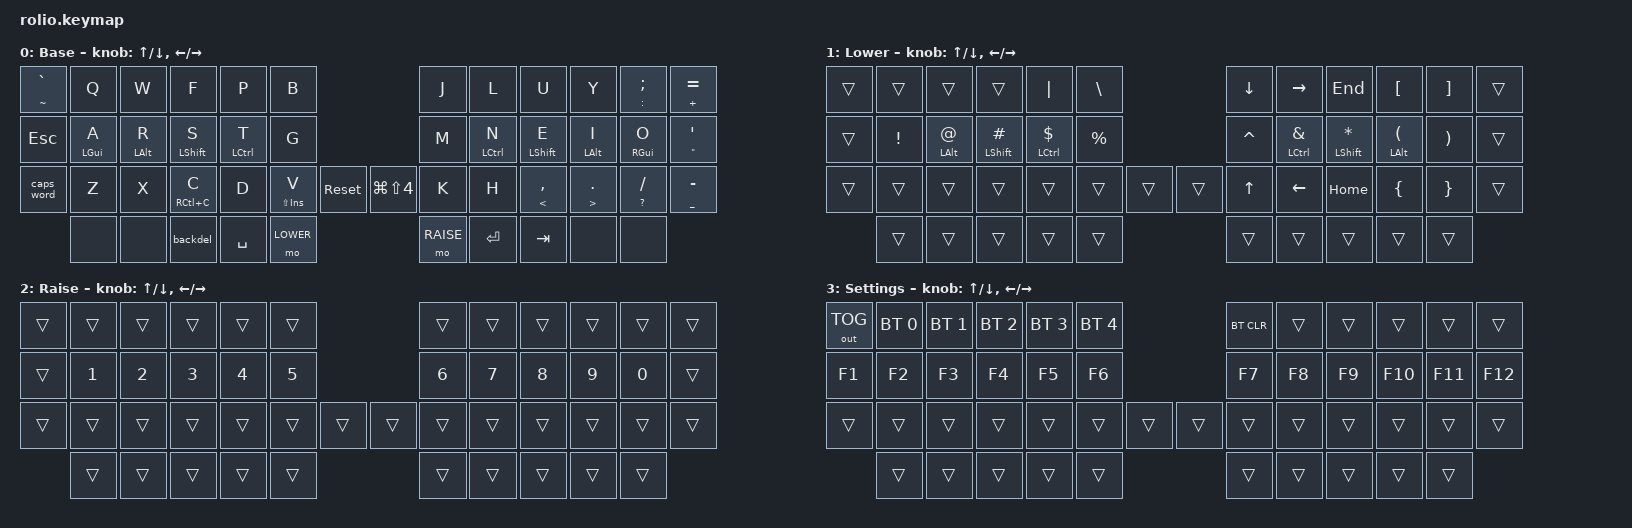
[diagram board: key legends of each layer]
/*
 * Copyright (c) 2020 The ZMK Contributors
 *
 * SPDX-License-Identifier: MIT
 */

#include <behaviors.dtsi>
#include <dt-bindings/zmk/keys.h>
#include <dt-bindings/zmk/bt.h>
#include <dt-bindings/zmk/outputs.h>
#include <dt-bindings/zmk/backlight.h>


#define DEFAULT   0
#define LOWER     1
#define RAISE     2
#define KB_CONFIG 3

#define KEYS_L 0 1 2 3 4 5 12 13 14 15 16 17 24 25 26 27 28 29 30   // left hand
#define KEYS_R 6 7 8 9 10 11 18 19 20 21 22 23 31 32 33 34 35 36 37 // right hand
#define KEYS_T 38 39 40 41 42 43 44 45 46 47                        // thumbs

/ {

    conditional_layers {
        compatible = "zmk,conditional-layers";
        tri_layer {
            if-layers = <LOWER RAISE>;
            then-layer = <KB_CONFIG>;
        };
    };


    behaviors {
        hml: homerow_mods_left {
          compatible = "zmk,behavior-hold-tap";
          label = "HOMEROW_MODS_LEFT";
          #binding-cells = <2>;
          bindings = <&kp>, <&kp>;
          flavor = "balanced";
          tapping-term-ms = <230>;
          quick-tap-ms = <175>;        // repeat on tap-into-hold
          //hold-trigger-key-positions = <KEYS_R KEYS_T>;
        };

        hmr: homerow_mods_right {
          compatible = "zmk,behavior-hold-tap";
          label = "HOMEROW_MODS_RIGHT";
          #binding-cells = <2>;
          bindings = <&kp>, <&kp>;
          flavor = "balanced";
          tapping-term-ms = <230>;
          quick_tap_ms = <175>;
          //hold-trigger-key-positions = <KEYS_L KEYS_T>;
        };

        // Backspace with Del
        backdel: backspace_del {
            compatible = "zmk,behavior-mod-morph";
            #binding-cells = <0>;
            bindings = <&kp BSPC>, <&kp DEL>;
            mods = <(MOD_LSFT|MOD_RSFT|MOD_LCTL|MOD_RCTL|MOD_LALT|MOD_RALT)>;
        };
        // Mod-Tap but with the tap preferred, usefull for clipboard operations for example
        tmt: tap_prefered_mt {
            compatible = "zmk,behavior-hold-tap";
            #binding-cells = <2>;
            flavor = "tap-preferred";
            tapping-term-ms = <200>;
            quick-tap-ms = <200>;
            bindings = <&kp>, <&kp>;
        };
        // // Toggle Numbers layer
        // td1: tap_dance_1 {
        //     compatible = "zmk,behavior-tap-dance";
        //     label = "TAP_DANCE_1";
        //     #binding-cells = <0>;
        //     tapping-term-ms = <300>;
        //     bindings = <&mo RAISE>, <&tog MATHS>, <&tog RAISE>;
        // };
        // // Toggle capsword left
        // td2: tap_dance_2 {
        //     compatible = "zmk,behavior-tap-dance";
        //     label = "TAP_DANCE_2";
        //     #binding-cells = <0>;
        //     tapping-term-ms = <200>;
        //     bindings = <&kp LSHFT>, <&caps_word>;
        // };
        // // Toggle capsword right
        // td3: tap_dance_3 {
        //     compatible = "zmk,behavior-tap-dance";
        //     label = "TAP_DANCE_3";
        //     #binding-cells = <0>;
        //     tapping-term-ms = <200>;
        //     bindings = <&kp RSHFT>, <&caps_word>;
        // };
        // // Toggle Windows layer
        // td4: tap_dance_4 {
        //     compatible = "zmk,behavior-tap-dance";
        //     label = "TAP_DANCE_4";
        //     #binding-cells = <0>;
        //     tapping-term-ms = <200>;
        //     bindings = <&kp LGUI>, <&tog WINDOWS>;
        // };
        // // Toggle Windows layer
        // td5: tap_dance_5 {
        //     compatible = "zmk,behavior-tap-dance";
        //     label = "TAP_DANCE_5";
        //     #binding-cells = <0>;
        //     tapping-term-ms = <200>;
        //     bindings = <&kp RGUI>, <&tog WINDOWS>;
        // };
        // // Backspace a whole word when holding backspace
        // backspace_word: backspace_word {
        //     compatible = "zmk,behavior-hold-tap";
        //     label = "BACKSPACE_WORD";
        //     #binding-cells = <2>;
        //     tapping_term_ms = <135>;
        //     quick_tap_ms = <0>;
        //     flavor = "tap-preferred";
        //     bindings = <&bsp_word>, <&kp>;
        // };
        // w_backspace_word: w_backspace_word {
        //     compatible = "zmk,behavior-hold-tap";
        //     label = "WINDOWS_BACKSPACE_WORD";
        //     #binding-cells = <2>;
        //     tapping_term_ms = <135>;
        //     quick_tap_ms = <0>;
        //     flavor = "tap-preferred";
        //     bindings = <&w_bsp_word>, <&kp>;
        // };
    };


    macros {
        // unindent: unindent {
        //     label = "UNINDENT";
        //     compatible = "zmk,behavior-macro";
        //     #binding-cells = <0>;
        //     bindings
        //         = <&macro_press &kp LSHIFT>
        //         , <&macro_tap &kp TAB>
        //         , <&macro_release &kp LSHIFT>
        //         ;
        // };
        // lstart: lstart {
        //     label = "Line_Start";
        //     compatible = "zmk,behavior-macro";
        //     #binding-cells = <0>;
        //     bindings
        //         = <&macro_press &kp LGUI>
        //         , <&macro_tap &kp LEFT>
        //         , <&macro_release &kp LGUI>
        //         ;
        // };
        // lend: lend {
        //     label = "Line_End";
        //     compatible = "zmk,behavior-macro";
        //     #binding-cells = <0>;
        //     bindings
        //         = <&macro_press &kp LGUI>
        //         , <&macro_tap &kp RIGHT>
        //         , <&macro_release &kp LGUI>
        //         ;
        // };
        // scrsh: scrsh {
        //     label = "Screenshot";
        //     compatible = "zmk,behavior-macro";
        //     #binding-cells = <0>;
        //     bindings
        //         = <&macro_press &kp LGUI>
        //         , <&macro_press &kp LSHIFT>
        //         , <&macro_tap &kp N3>
        //         , <&macro_release &kp LSHFT>
        //         , <&macro_release &kp LGUI>
        //         ;
        // };
        // scrcr: scrcr {
        //     label = "Screen_Crop";
        //     compatible = "zmk,behavior-macro";
        //     #binding-cells = <0>;
        //     bindings
        //         = <&macro_press &kp LGUI>
        //         , <&macro_press &kp LSHIFT>
        //         , <&macro_tap &kp N4>
        //         , <&macro_release &kp LSHFT>
        //         , <&macro_release &kp LGUI>
        //         ;
        // };
        // wscrcr: wscrcr {
        //     label = "Windows_Screen_Crop";
        //     compatible = "zmk,behavior-macro";
        //     #binding-cells = <0>;
        //     bindings
        //         = <&macro_press &kp LGUI>
        //         , <&macro_press &kp LSHIFT>
        //         , <&macro_tap &kp S>
        //         , <&macro_release &kp LSHFT>
        //         , <&macro_release &kp LGUI>
        //         ;
        // };
        // pal: pal {
        //     label = "Pallette";
        //     compatible = "zmk,behavior-macro";
        //     #binding-cells = <0>;
        //     bindings
        //         = <&macro_press &kp LGUI>
        //         , <&macro_press &kp LCTRL>
        //         , <&macro_tap &kp SPACE>
        //         , <&macro_release &kp LCTRL>
        //         , <&macro_release &kp LGUI>
        //         ;
        // };
        // wpal: wpal {
        //     label = "W_Pallette";
        //     compatible = "zmk,behavior-macro";
        //     #binding-cells = <0>;
        //     bindings
        //         = <&macro_press &kp LGUI>
        //         , <&macro_tap &kp DOT>
        //         , <&macro_release &kp LGUI>
        //         ;
        // };
        // // Word backspace macros
        // bsp_word: bsp_word {
        //     label = "BSP_WORD";
        //     compatible = "zmk,behavior-macro";
        //     #binding-cells = <0>;
        //     bindings
        //         = <&macro_press &kp LALT>
        //         , <&macro_tap &kp BSPC>
        //         , <&macro_release &kp LALT>
        //         ;
        // };
        // w_bsp_word: w_bsp_word {
        //     label = "W_BSP_WORD";
        //     compatible = "zmk,behavior-macro";
        //     #binding-cells = <0>;
        //     bindings
        //         = <&macro_press &kp LCTRL>
        //         , <&macro_tap &kp BSPC>
        //         , <&macro_release &kp LCTRL>
        //         ;
        // };
        // // Zoom macros
        // zoom_in: zoom_in {
        //     label = "ZOOM_IN";
        //     compatible = "zmk,behavior-macro";
        //     #binding-cells = <0>;
        //     bindings
        //         = <&macro_press &kp LGUI>
        //         , <&macro_tap &kp EQUAL>
        //         , <&macro_release &kp LGUI>
        //         ;
        // };
        // zoom_out: zoom_out {
        //     label = "ZOOM_OUT";
        //     compatible = "zmk,behavior-macro";
        //     #binding-cells = <0>;
        //     bindings
        //         = <&macro_press &kp LGUI>
        //         , <&macro_tap &kp MINUS>
        //         , <&macro_release &kp LGUI>
        //         ;
        // };
        // reset_zoom: reset_zoom {
        //     label = "RESET_ZOOM";
        //     compatible = "zmk,behavior-macro";
        //     #binding-cells = <0>;
        //     bindings
        //         = <&macro_press &kp LGUI>
        //         , <&macro_tap &kp N0>
        //         , <&macro_release &kp LGUI>
        //         ;
        // };
        // w_zoom_in: w_zoom_in {
        //     label = "WINDOWS_ZOOM_IN";
        //     compatible = "zmk,behavior-macro";
        //     #binding-cells = <0>;
        //     bindings
        //         = <&macro_press &kp LCTRL>
        //         , <&macro_tap &kp EQUAL>
        //         , <&macro_release &kp LCTRL>
        //         ;
        // };
        // w_zoom_out: w_zoom_out {
        //     label = "WINDOWS_ZOOM_OUT";
        //     compatible = "zmk,behavior-macro";
        //     #binding-cells = <0>;
        //     bindings
        //         = <&macro_press &kp LCTRL>
        //         , <&macro_tap &kp MINUS>
        //         , <&macro_release &kp LCTRL>
        //         ;
        // };
        // w_reset_zoom: w_reset_zoom {
        //     label = "WINDOWS_RESET_ZOOM";
        //     compatible = "zmk,behavior-macro";
        //     #binding-cells = <0>;
        //     bindings
        //         = <&macro_press &kp LCTRL>
        //         , <&macro_tap &kp N0>
        //         , <&macro_release &kp LCTRL>
        //         ;
        // };
    };

    keymap {
        compatible = "zmk,keymap";

        default_layer {
            label = "Base";
            sensor-bindings = <&inc_dec_kp UP DOWN &inc_dec_kp LEFT RIGHT>;
            bindings = <
  &mt TILDE GRAVE  &kp Q        &kp W        &kp F         &kp P         &kp B                                  &kp J      &kp L         &kp U         &kp Y        &mt COLON SEMI   &mt PLUS EQUAL
  &kp ESC          &hml LGUI A  &hml LALT R  &hml LSHFT S  &hml LCTRL T  &kp G                                  &kp M      &hmr LCTRL N  &hmr LSHFT E  &hmr LALT I  &hmr RGUI O      &mt DQT SQT
  &caps_word       &kp Z        &kp X        &tmt RC(C) C  &kp D         &tmt LS(INS) V  &sys_reset  &kp LG(LS(N4))  &kp K      &kp H         &mt LT COMMA  &mt GT DOT   &mt QMARK SLASH  &mt UNDER MINUS
                   &none        &none        &backdel      &kp SPACE     &mo LOWER                              &mo RAISE  &kp ENTER     &kp TAB       &none        &none
            >;
        };

        lower_layer {
            label = "Lower";
            sensor-bindings = <&inc_dec_kp UP DOWN &inc_dec_kp LEFT RIGHT>;
            bindings = <
  &trans  &trans    &trans        &trans           &kp PIPE           &kp BSLH                     &kp DOWN   &kp RIGHT             &kp END          &kp LBKT        &kp RBKT  &trans
  &trans  &kp EXCL  &hml LALT AT  &hml LSHFT HASH  &hml LCTRL DOLLAR  &kp PERCENT                  &kp CARET  &hmr LCTRL AMPERSAND  &hmr LSHFT STAR  &hmr LALT LPAR  &kp RPAR  &trans
  &trans  &trans    &trans        &trans           &trans             &trans       &trans  &trans  &kp UP     &kp LEFT              &kp HOME         &kp LBRC        &kp RBRC  &trans
          &trans    &trans        &trans           &trans             &trans                       &trans     &trans                &trans           &trans          &trans
            >;

        };

        raise_layer {
            label = "Raise";
            sensor-bindings = <&inc_dec_kp UP DOWN &inc_dec_kp LEFT RIGHT>;
            bindings = <
  &trans  &trans  &trans  &trans  &trans  &trans                  &trans  &trans  &trans  &trans  &trans  &trans
  &trans  &kp N1  &kp N2  &kp N3  &kp N4  &kp N5                  &kp N6  &kp N7  &kp N8  &kp N9  &kp N0  &trans
  &trans  &trans  &trans  &trans  &trans  &trans  &trans  &trans  &trans  &trans  &trans  &trans  &trans  &trans
          &trans  &trans  &trans  &trans  &trans                  &trans  &trans  &trans  &trans  &trans
            >;
        };

        settings_layer {
            label = "Settings";
            sensor-bindings = <&inc_dec_kp UP DOWN &inc_dec_kp LEFT RIGHT>;
            bindings = <
  &out OUT_TOG  &bt BT_SEL 0  &bt BT_SEL 1  &bt BT_SEL 2  &bt BT_SEL 3  &bt BT_SEL 4                  &bt BT_CLR  &trans  &trans  &trans   &trans   &trans
  &kp F1        &kp F2        &kp F3        &kp F4        &kp F5        &kp F6                        &kp F7      &kp F8  &kp F9  &kp F10  &kp F11  &kp F12
  &trans        &trans        &trans        &trans        &trans        &trans        &trans  &trans  &trans      &trans  &trans  &trans   &trans   &trans
                &trans        &trans        &trans        &trans        &trans                        &trans      &trans  &trans  &trans   &trans
            >;
        };

    };
};
